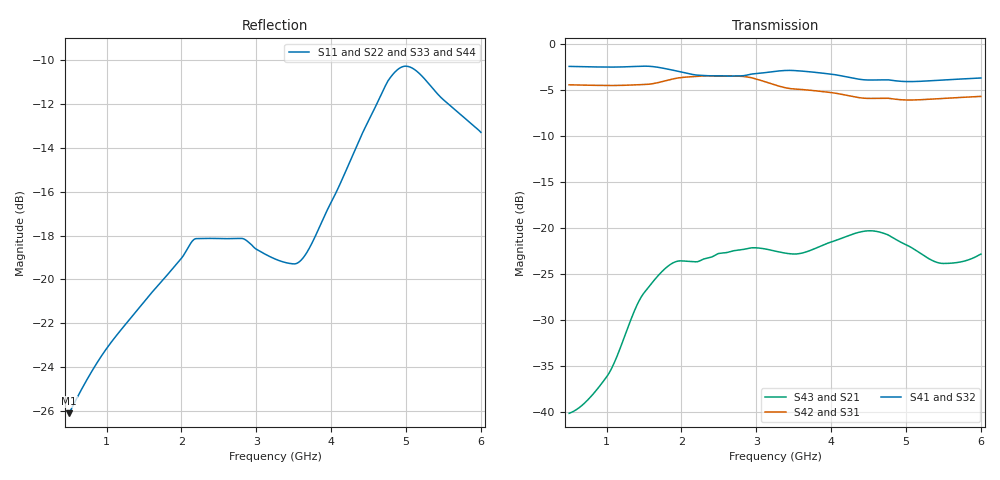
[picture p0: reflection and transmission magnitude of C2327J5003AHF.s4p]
! Project 16: active antenna, S-band (NavIC) branch (RFMW-ANT)
! Generated by Scripts/sband.py from Scripts/ds_data.py; format GHz / RI, Z0 = 50 ohm
! ESTIMATED from TTM Technologies Xinger C2327J5003AHF data sheet rev. K plots p.2-3. Ports: 1 = pin1 input, 2 = pin3 isolated,
! 3 = pin6 coupled, 4 = pin4 direct. Absolute / reflection / isolation phase [ASSUMED]. 0.5-6 GHz.
# GHz S RI R 50.0
!freq ReS11 ImS11 ReS12 ImS12 ReS13 ImS13
! ReS14 ImS14
! ReS21 ImS21 ReS22 ImS22 ReS23 ImS23
! ReS24 ImS24
! ReS31 ImS31 ReS32 ImS32 ReS33 ImS33
! ReS34 ImS34
! ReS41 ImS41 ReS42 ImS42 ReS43 ImS43
! ReS44 ImS44
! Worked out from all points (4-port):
!   1376 points, 500 MHz to 6 GHz, reference 50 ohm
!   strongest paths, dB at 500 MHz, 1.876 GHz, 3.252 GHz, 4.628 GHz, 6 GHz:
!     S41: -2.4, -2.8, -3.0, -3.9, -3.7
!     S32: -2.4, -2.8, -3.0, -3.9, -3.7
!     S42: -4.4, -3.8, -4.4, -5.9, -5.7
!     S31: -4.4, -3.8, -4.4, -5.9, -5.7
!     S43: -40.1, -23.8, -22.5, -20.4, -22.8
!     S21: -40.1, -23.8, -22.5, -20.4, -22.8
!   lowest |S11| = -26.1 dB at 500 MHz (marker M1), VSWR 1.10, Z = 52.6 + j4.38 ohm
!   |S11| at or under -10 dB: start of sweep to end of sweep
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0.5  0.027 0.0416  -0.00964 0.00223  0.1858 0.5719  0.72 -0.2339
     -0.00964 0.00223  0.027 0.0416  0.72 -0.2339  0.1858 0.5719
     0.1858 0.5719  0.72 -0.2339  0.027 0.0416  -0.00964 0.00223
     0.72 -0.2339  0.1858 0.5719  -0.00964 0.00223  0.027 0.0416
1.012  0.0548 0.0437  -0.0135 0.00826  0.3498 0.4829  0.6039 -0.4458
       -0.0135 0.00826  0.0548 0.0437  0.6039 -0.4458  0.3498 0.4829
       0.3498 0.4829  0.6039 -0.4458  0.0548 0.0437  -0.0135 0.00826
       0.6039 -0.4458  0.3498 0.4829  -0.0135 0.00826  0.0548 0.0437
1.812  0.101 0.0174  -0.0307 0.0537  0.5707 0.2812  0.3069 -0.6652
       -0.0307 0.0537  0.101 0.0174  0.3069 -0.6652  0.5707 0.2812
       0.5707 0.2812  0.3069 -0.6652  0.101 0.0174  -0.0307 0.0537
       0.3069 -0.6652  0.5707 0.2812  -0.0307 0.0537  0.101 0.0174
3.204  0.0856 -0.0727  0.0264 0.0712  0.5724 -0.2075  -0.303 -0.6396
       0.0264 0.0712  0.0856 -0.0727  -0.303 -0.6396  0.5724 -0.2075
       0.5724 -0.2075  -0.303 -0.6396  0.0856 -0.0727  0.0264 0.0712
       -0.303 -0.6396  0.5724 -0.2075  0.0264 0.0712  0.0856 -0.0727
3.652  0.0627 -0.0947  0.0441 0.0596  0.4725 -0.31  -0.4712 -0.5331
       0.0441 0.0596  0.0627 -0.0947  -0.4712 -0.5331  0.4725 -0.31
       0.4725 -0.31  -0.4712 -0.5331  0.0627 -0.0947  0.0441 0.0596
       -0.4712 -0.5331  0.4725 -0.31  0.0441 0.0596  0.0627 -0.0947
4.92  -0.0637 -0.2964  0.0837 0.0116  0.1942 -0.4602  -0.628 -0.0316
      0.0837 0.0116  -0.0637 -0.2964  -0.628 -0.0316  0.1942 -0.4602
      0.1942 -0.4602  -0.628 -0.0316  -0.0637 -0.2964  0.0837 0.0116
      -0.628 -0.0316  0.1942 -0.4602  0.0837 0.0116  -0.0637 -0.2964
6  -0.168 -0.1361  0.0621 -0.0373  -0.1434 -0.5  -0.5297 0.3849
   0.0621 -0.0373  -0.168 -0.1361  -0.5297 0.3849  -0.1434 -0.5
   -0.1434 -0.5  -0.5297 0.3849  -0.168 -0.1361  0.0621 -0.0373
   -0.5297 0.3849  -0.1434 -0.5  0.0621 -0.0373  -0.168 -0.1361
